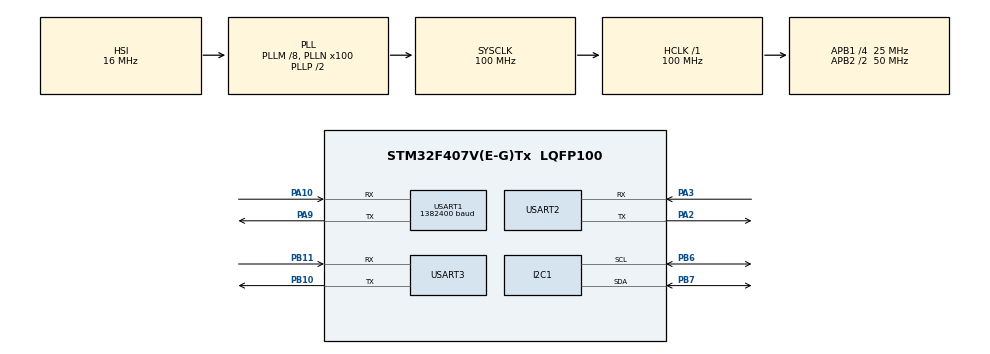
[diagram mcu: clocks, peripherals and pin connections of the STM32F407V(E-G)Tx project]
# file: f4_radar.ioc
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Mcu.Family=STM32F4
Mcu.Name=STM32F407V(E-G)Tx
Mcu.Package=LQFP100
NVIC.PriorityGroup=NVIC_PRIORITYGROUP_4
NVIC.USART1_IRQn=true\:0\:0\:false\:false\:true\:true\:true\:true
NVIC.USART2_IRQn=true\:0\:0\:false\:false\:true\:true\:true\:true
PA10.Mode=Asynchronous
PA10.Signal=USART1_RX
PA13.Mode=Serial_Wire
PA13.Signal=SYS_JTMS-SWDIO
PA14.Mode=Serial_Wire
PA14.Signal=SYS_JTCK-SWCLK
PA2.Mode=Asynchronous
PA2.Signal=USART2_TX
PA3.Mode=Asynchronous
PA3.Signal=USART2_RX
PA9.Mode=Asynchronous
PA9.Signal=USART1_TX
PB10.Mode=Asynchronous
PB10.Signal=USART3_TX
PB11.Mode=Asynchronous
PB11.Signal=USART3_RX
PB6.Mode=I2C
PB6.Signal=I2C1_SCL
PB7.Mode=I2C
PB7.Signal=I2C1_SDA
PH0-OSC_IN.Mode=HSE-External-Oscillator
PH0-OSC_IN.Signal=RCC_OSC_IN
PH1-OSC_OUT.Mode=HSE-External-Oscillator
PH1-OSC_OUT.Signal=RCC_OSC_OUT
ProjectManager.HeapSize=0x200
ProjectManager.StackSize=0x400
ProjectManager.TargetToolchain=MDK-ARM V5
RCC.48MHZClocksFreq_Value=50000000
RCC.AHBFreq_Value=100000000
RCC.APB1CLKDivider=RCC_HCLK_DIV4
RCC.APB1Freq_Value=25000000
RCC.APB1TimFreq_Value=50000000
RCC.APB2CLKDivider=RCC_HCLK_DIV2
RCC.APB2Freq_Value=50000000
RCC.APB2TimFreq_Value=100000000
RCC.CortexFreq_Value=100000000
RCC.HCLKFreq_Value=100000000
RCC.HSE_VALUE=25000000
RCC.HSI_VALUE=16000000
RCC.LSE_VALUE=32768
RCC.PLLM=8
RCC.PLLN=100
RCC.SYSCLKFreq_VALUE=100000000
RCC.SYSCLKSource=RCC_SYSCLKSOURCE_PLLCLK
RCC.VCOOutputFreq_Value=200000000
USART1.BaudRate=1382400
USART1.VirtualMode=VM_ASYNC
USART2.VirtualMode=VM_ASYNC
USART3.VirtualMode=VM_ASYNC
board=custom

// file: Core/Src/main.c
/* USER CODE BEGIN Header */
/**
 ******************************************************************************
 * @file           : main.c
 * @brief          : Main program body
 ******************************************************************************
 * @attention
 *
 * Copyright (c) 2025 STMicroelectronics.
 * All rights reserved.
 *
 * This software is licensed under terms that can be found in the LICENSE file
 * in the root directory of this software component.
 * If no LICENSE file comes with this software, it is provided AS-IS.
 *
 ******************************************************************************
 */
/* USER CODE END Header */
#include "main.h"

/* USER CODE BEGIN Includes */
#include "CLCD_I2C.h"
#include <string.h>
#include <stdio.h>
#include <stdint.h>

/* USER CODE END Includes */

/* USER CODE BEGIN PTD */
CLCD_I2C_Name LCD1;

/* USER CODE END PTD */

/* USER CODE BEGIN PD */
#define SOF 0x01
/* USER CODE END PD */

I2C_HandleTypeDef hi2c1;

UART_HandleTypeDef huart1;
UART_HandleTypeDef huart2;
UART_HandleTypeDef huart3;

/* USER CODE BEGIN PV */
#define ALL_DATA 0x0A13
#define RESESPIRATORY_RATE 0x0A14
#define HEART_BEAT 0x0A15
#define DECTEC_DISTANCE 0x0A16

#define SOF_BYTE 0U
#define ID_BYTE1 1
#define ID_BYTE2 2

#define LEN_BYTE_H 3
#define LEN_BYTE_L 4

#define TYPE_BYTE_H 5
#define TYPE_BYTE_L 6

#define HEAD_CKS_BYTE 7

#define ALL_DATA_LEN 12
#define TW0_DATA_LEN 8
#define ONE_DATA_LEN 4

#define SHIFT_BIT_TYPE 8

/* USER CODE END PV */

void SystemClock_Config(void);
static void MX_GPIO_Init(void);
static void MX_USART1_UART_Init(void);
static void MX_USART2_UART_Init(void);
static void MX_USART3_UART_Init(void);
static void MX_I2C1_Init(void);
/* USER CODE BEGIN PFP */
void ProcessRadarData(void);
void processFrame(uint8_t *buffer, uint16_t length);
static uint8_t getCksum(uint8_t *data, uint8_t len);
float bytesToFloat(uint8_t *data);
void OutputResult(const char *msg);
void LCD_Print(const char *msg);
/* USER CODE END PFP */
static float breath_rate;
/* USER CODE BEGIN 0 */

float get_breath_rate(void)
{
  return breath_rate;
}

static uint8_t getCksum(uint8_t *data, uint8_t len)
{
  uint8_t ret = 0;
  for (uint8_t i = 0; i < len; i++)
  {
    ret ^= data[i];
  }
  ret = ~ret;
  return ret;
}

float bytesToFloat(uint8_t *data)
{
  float f;
  memcpy(&f, data, sizeof(float));
  return f;
}

void LCD_Print(const char *msg)
{
  CLCD_I2C_SetCursor(&LCD1, 0, 1);
  CLCD_I2C_WriteString(&LCD1, (char *)msg);
}

void OutputResult(const char *msg)
{
  HAL_UART_Transmit(&huart2, (uint8_t *)msg, strlen(msg), HAL_MAX_DELAY);
}

void processFrame(uint8_t *buffer, uint16_t length)
{
  if (length < 8)
    return;

  if (buffer[0] != SOF)
    return;

  uint16_t id = (buffer[1] << 8) | buffer[2];
  uint16_t lenField = (buffer[3] << 8) | buffer[4];
  uint16_t type = (buffer[5] << 8) | buffer[6];
  uint8_t headCks = buffer[7];

  if (getCksum(buffer, 7) != headCks)
  {
    OutputResult("Header checksum error\r\n");
    return;
  }
  switch (type)
  {
  case 0x0A13:
  {
    if (length < 8 + 12 + 1)
      return;

    uint8_t *dataPtr = &buffer[8];
    uint8_t dataCks = buffer[8 + ALL_DATA_LEN];

    if (getCksum(dataPtr, 12) != dataCks)
    {
      OutputResult("Data checksum error (Phase Test)\r\n");
      return;
    }
    float total_phase = bytesToFloat(&dataPtr[0]);
    float breath_phase = bytesToFloat(&dataPtr[4]);
    float heart_phase = bytesToFloat(&dataPtr[8]);
    char msg[64];
    snprintf(msg, sizeof(msg), "Phase: Total=%f, Breath=%f, Heart=%f\r\n", total_phase, breath_phase, heart_phase);
    OutputResult(msg);
    break;
  }
  case 0x0A14:
  {
    if (length < 8 + 4 + 1)
      return;
    uint8_t *dataPtr = &buffer[8];
    uint8_t dataCks = buffer[8 + ONE_DATA_LEN];
    if (getCksum(dataPtr, 4) != dataCks)
      breath_rate
      {
        OutputResult("Data checksum error (Breath Rate)\r\n");
        return;
      }
    float = bytesToFloat(dataPtr);
    char msg[32];
    snprintf(msg, sizeof(msg), "Breath Rate: %f\r\n", breath_rate);
    OutputResult(msg);
    break;
  }
  case 0x0A15:
  {
    if (length < 8 + 4 + 1)
      return;
    uint8_t *dataPtr = &buffer[8];
    uint8_t dataCks = buffer[8 + 4];
    if (getCksum(dataPtr, 4) != dataCks)
    {
      OutputResult("Data checksum error (Heart Rate)\r\n");
      return;
    }
    float heart_rate = bytesToFloat(dataPtr);
    char msg[32];
    snprintf(msg, sizeof(msg), "Heart Rate: %f\r\n", heart_rate);
    OutputResult(msg);
    break;
  }
  case 0x0A16:
  {
    if (length < 8 + 8 + 1)
      return;
    uint8_t *dataPtr = &buffer[8];
    uint8_t dataCks = buffer[8 + 8];
    if (getCksum(dataPtr, 8) != dataCks)
    {
      OutputResult("Data checksum error (Target Distance)\r\n");
      return;
    }
    uint32_t flag = dataPtr[0] | (dataPtr[1] << 8) | (dataPtr[2] << 16) | (dataPtr[3] << 24);
    float range = bytesToFloat(&dataPtr[4]);
    if (flag == 1)
    {
      char msg[32];
      snprintf(msg, sizeof(msg), "Target Range: %f cm\r\n", range);
      OutputResult(msg);
    }
    else
    {
      OutputResult("No target distance output.\r\n");
    }
    break;
  }
  default:
  {
    char msg[32];
    snprintf(msg, sizeof(msg), "Unknown frame type: 0x%04X\r\n", type);
    OutputResult(msg);
    break;
  }
  }
}

void ProcessRadarData(void)
{
  uint8_t header[8];
  int dataLen = 0;
  int totalFrameSize = 0;
  ` uint8_t frameBuffer[64] = {0};

  if (HAL_UART_Receive(&huart1, header, 8, 100) == HAL_OK)
  {
    /*Check data invalid*/
    if (header[0] != SOF)
      return;

    /* read type*/
    uint16_t type = (header[TYPE_BYTE_H] << SHIFT_BIT_TYPE) | header[TYPE_BYTE_L];

    /* cal data length */
    switch (type)
    {
    case 0x0A13:
      dataLen = 12;
      break;
    case 0x0A14:
      dataLen = 4;
      break;
    case 0x0A15:
      dataLen = 4;
      break;
    case 0x0A16:
      dataLen = 8;
      break;
    default:
      return;
    }

    totalFrameSize = 8 + dataLen + 1;

    /* copy data from header to frame_buf with size is 8*/
    memcpy(frameBuffer, header, 8);

    if (HAL_UART_Receive(&huart1, &frameBuffer[8], dataLen + 1, 100) == HAL_OK)
    {
      processFrame(frameBuffer, totalFrameSize);
    }
  }
}
/* USER CODE END 0 */

int main(void)
{

  /* MCU Configuration--------------------------------------------------------*/

  /* Reset of all peripherals, Initializes the Flash interface and the Systick. */
  HAL_Init();

  /* Configure the system clock */
  SystemClock_Config();

  /* Initialize all configured peripherals */
  MX_GPIO_Init();
  MX_USART1_UART_Init();
  MX_USART2_UART_Init();
  MX_USART3_UART_Init();
  MX_I2C1_Init();
  /* USER CODE BEGIN 2 */
  CLCD_I2C_Init(&LCD1, &hi2c1, 0x4e, 16, 2);
  /* USER CODE END 2 */

  /* Infinite loop */
  /* USER CODE BEGIN WHILE */
  while (1)
  {
    ProcessRadarData();
    /* USER CODE END WHILE */

  }
}

void SystemClock_Config(void)
{
  RCC_OscInitTypeDef RCC_OscInitStruct = {0};
  RCC_ClkInitTypeDef RCC_ClkInitStruct = {0};

  /** Configure the main internal regulator output voltage
   */
  __HAL_RCC_PWR_CLK_ENABLE();
  __HAL_PWR_VOLTAGESCALING_CONFIG(PWR_REGULATOR_VOLTAGE_SCALE1);

  /** Initializes the RCC Oscillators according to the specified parameters
   * in the RCC_OscInitTypeDef structure.
   */
  RCC_OscInitStruct.OscillatorType = RCC_OSCILLATORTYPE_HSI;
  RCC_OscInitStruct.HSIState = RCC_HSI_ON;
  RCC_OscInitStruct.HSICalibrationValue = RCC_HSICALIBRATION_DEFAULT;
  RCC_OscInitStruct.PLL.PLLState = RCC_PLL_ON;
  RCC_OscInitStruct.PLL.PLLSource = RCC_PLLSOURCE_HSI;
  RCC_OscInitStruct.PLL.PLLM = 8;
  RCC_OscInitStruct.PLL.PLLN = 100;
  RCC_OscInitStruct.PLL.PLLP = RCC_PLLP_DIV2;
  RCC_OscInitStruct.PLL.PLLQ = 4;
  if (HAL_RCC_OscConfig(&RCC_OscInitStruct) != HAL_OK)
  {
    Error_Handler();
  }

  /** Initializes the CPU, AHB and APB buses clocks
   */
  RCC_ClkInitStruct.ClockType = RCC_CLOCKTYPE_HCLK | RCC_CLOCKTYPE_SYSCLK | RCC_CLOCKTYPE_PCLK1 | RCC_CLOCKTYPE_PCLK2;
  RCC_ClkInitStruct.SYSCLKSource = RCC_SYSCLKSOURCE_PLLCLK;
  RCC_ClkInitStruct.AHBCLKDivider = RCC_SYSCLK_DIV1;
  RCC_ClkInitStruct.APB1CLKDivider = RCC_HCLK_DIV4;
  RCC_ClkInitStruct.APB2CLKDivider = RCC_HCLK_DIV2;

  if (HAL_RCC_ClockConfig(&RCC_ClkInitStruct, FLASH_LATENCY_3) != HAL_OK)
  {
    Error_Handler();
  }
}

static void MX_I2C1_Init(void)
{

  hi2c1.Instance = I2C1;
  hi2c1.Init.ClockSpeed = 100000;
  hi2c1.Init.DutyCycle = I2C_DUTYCYCLE_2;
  hi2c1.Init.OwnAddress1 = 0;
  hi2c1.Init.AddressingMode = I2C_ADDRESSINGMODE_7BIT;
  hi2c1.Init.DualAddressMode = I2C_DUALADDRESS_DISABLE;
  hi2c1.Init.OwnAddress2 = 0;
  hi2c1.Init.GeneralCallMode = I2C_GENERALCALL_DISABLE;
  hi2c1.Init.NoStretchMode = I2C_NOSTRETCH_DISABLE;
  if (HAL_I2C_Init(&hi2c1) != HAL_OK)
  {
    Error_Handler();
  }
}

static void MX_USART1_UART_Init(void)
{

  huart1.Instance = USART1;
  huart1.Init.BaudRate = 1382400;
  huart1.Init.WordLength = UART_WORDLENGTH_8B;
  huart1.Init.StopBits = UART_STOPBITS_1;
  huart1.Init.Parity = UART_PARITY_NONE;
  huart1.Init.Mode = UART_MODE_TX_RX;
  huart1.Init.HwFlowCtl = UART_HWCONTROL_NONE;
  huart1.Init.OverSampling = UART_OVERSAMPLING_16;
  if (HAL_UART_Init(&huart1) != HAL_OK)
  {
    Error_Handler();
  }
}

static void MX_USART2_UART_Init(void)
{

  huart2.Instance = USART2;
  huart2.Init.BaudRate = 115200;
  huart2.Init.WordLength = UART_WORDLENGTH_8B;
  huart2.Init.StopBits = UART_STOPBITS_1;
  huart2.Init.Parity = UART_PARITY_NONE;
  huart2.Init.Mode = UART_MODE_TX_RX;
  huart2.Init.HwFlowCtl = UART_HWCONTROL_NONE;
  huart2.Init.OverSampling = UART_OVERSAMPLING_16;
  if (HAL_UART_Init(&huart2) != HAL_OK)
  {
    Error_Handler();
  }
}

static void MX_USART3_UART_Init(void)
{

  huart3.Instance = USART3;
  huart3.Init.BaudRate = 115200;
  huart3.Init.WordLength = UART_WORDLENGTH_8B;
  huart3.Init.StopBits = UART_STOPBITS_1;
  huart3.Init.Parity = UART_PARITY_NONE;
  huart3.Init.Mode = UART_MODE_TX_RX;
  huart3.Init.HwFlowCtl = UART_HWCONTROL_NONE;
  huart3.Init.OverSampling = UART_OVERSAMPLING_16;
  if (HAL_UART_Init(&huart3) != HAL_OK)
  {
    Error_Handler();
  }
}

static void MX_GPIO_Init(void)
{

  /* GPIO Ports Clock Enable */
  __HAL_RCC_GPIOH_CLK_ENABLE();
  __HAL_RCC_GPIOA_CLK_ENABLE();
  __HAL_RCC_GPIOB_CLK_ENABLE();

}

void Error_Handler(void)
{
  __disable_irq();
  while (1)
  {
  }
}
